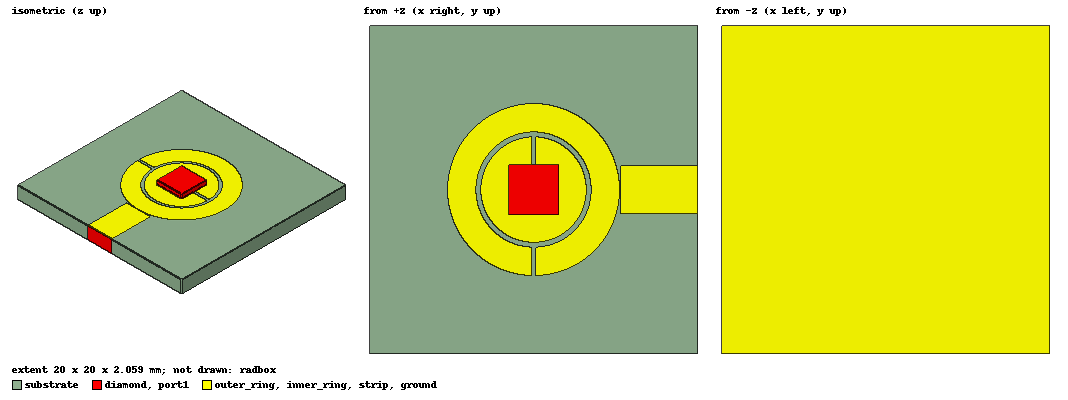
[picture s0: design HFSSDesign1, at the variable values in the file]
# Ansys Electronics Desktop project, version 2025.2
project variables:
  $copperthickness = 0.035mm
  $r2 = (5.242-1.728) mm
  $r1 = 1.486mm
  $gr = 0.3mm
  $w = 2.87mm
  $ringwidth = $r2-$gr-$r1
  $gs = 0.3mm
  $x_arc = sqrt(($r1+$ringwidth)^2- ($gs/2)^2) meter
  $gc = 0.05mm
  $substratethickness = 1.524mm
  $boardwidth = 20mm
  $lambda4 = 25mm
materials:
  vacuum: permittivity=1
  copper: permeability=0.999991 conductivity=58000000
  air: permittivity=1.0006 permeability=1.0000004
  Rogers RT/duroid 6010/6010LM (tm): permittivity=10.2 dielectric_loss_tangent=0.0023
  diamond_hi_pres: permittivity=5.7
  diamond: permittivity=16.5
  FR4_epoxy: permittivity=4.4 dielectric_loss_tangent=0.016

design HFSSDesign1 (HFSS, HFSS Terminal Network, model units mm)
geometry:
  substrate [FR4_epoxy] = box(corner=(-10mm, -$boardwidth/2, 0mm), size=(20mm, $boardwidth, -$substratethickness))
  outer_ring [copper] = cylinder(axis=Z, base_centre=(0mm, 0mm, 0mm), radius=$r2+$ringwidth, height=$copperthickness)
  outer_ring_cutout = cylinder(axis=Z, base_centre=(0mm, 0mm, 0mm), radius=$r2, height=$copperthickness)
  outer_ring.subtract(outer_ring_cutout)
  inner_ring [copper] = cylinder(axis=Z, base_centre=(0mm, 0mm, 0mm), radius=$r1+$ringwidth, height=$copperthickness)
  inner_ring_cutout = cylinder(axis=Z, base_centre=(0mm, 0mm, 0mm), radius=$r1, height=$copperthickness)
  inner_ring.subtract(inner_ring_cutout)
  inner_ring_gap = box(corner=(-$gs/2, $r1-0.25mm, 0mm), size=($gs, $ringwidth+0.5mm, $copperthickness))
  outer_ring_gap = box(corner=(-$gs/2, -$r2+0.25mm, 0mm), size=($gs, -$ringwidth-0.5mm, $copperthickness))
  inner_ring.subtract(inner_ring_gap)
  outer_ring.subtract(outer_ring_gap)
  strip [copper] = box(corner=($r2+$ringwidth+$gc, -$w/2, 0mm), size=(10mm-($r2+$ringwidth+$gc), $w, $copperthickness))
  ground = rectangle(corner=(-10mm, -$boardwidth/2, -$substratethickness), x_size=20mm, y_size=$boardwidth)
  port1 = rectangle(corner=(10mm, -$w/2, 0mm), y_size=$w, z_size=-$substratethickness)
  radbox [air] = box(corner=(-$lambda4, -$lambda4, -$lambda4), size=($lambda4*2, $lambda4*2, $lambda4*2))
  diamond [air] = box(corner=(-1.5mm, -1.5mm, $copperthickness), size=(3mm, 3mm, 0.5mm))
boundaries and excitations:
  Rad1: Radiation Objects=radbox
  PerfE1: Perfect E Objects=ground
  1: Lumped Port Objects=port1 LumpedPortType=Modal Modes{Mode1{IntLine{(10, 0, -1.524) -> (10, 0, 0)} CharImp=Zpi RenormImp=50ohm}} Impedance=50ohm
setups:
  Setup1: HfssDrivenAuto AutoSolverSetting=Balanced SaveAnyFields=false Type=Interpolating
    sweep Sweep: 2.5GHz to 6GHz, 1000 points;
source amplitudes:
  1:1: 1V 0deg
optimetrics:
  board_width: Parametric Sim._Setups=[Setup1]
    sweep $boardwidth: LIN 10mm 40mm 10mm
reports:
  Terminal S Parameter Plot1: dB(St(1,1)) vs Freq on Setup1 : Sweep; markers m1 at 2.8083083GHz
  Terminal S Parameter Plot2: dB(St(1,1)) vs Freq on Setup1 : Sweep [$boardwidth=10mm,20mm,30mm,40mm]; markers m1 at 2.9234114GHz, m2 at 2.9354515GHz
